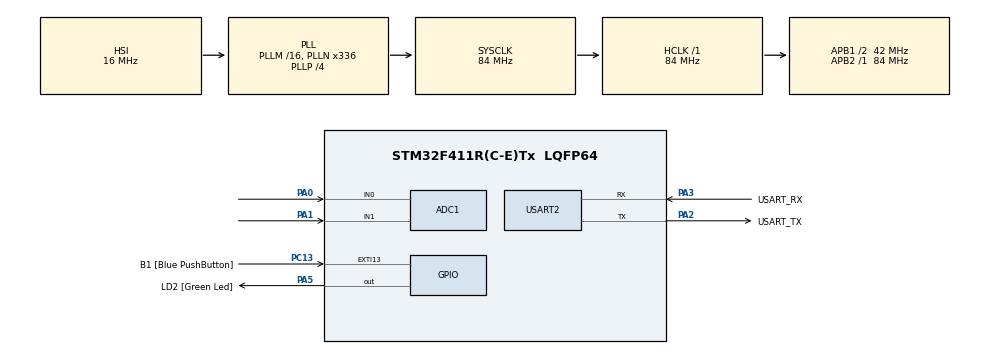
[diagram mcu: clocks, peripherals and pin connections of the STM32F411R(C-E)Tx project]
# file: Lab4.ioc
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ADC1.Channel-1\#ChannelRegularConversion=ADC_CHANNEL_0
ADC1.Channel-2\#ChannelRegularConversion=ADC_CHANNEL_0
ADC1.Channel-3\#ChannelRegularConversion=ADC_CHANNEL_0
ADC1.Channel-4\#ChannelRegularConversion=ADC_CHANNEL_0
ADC1.ContinuousConvMode=ENABLE
ADC1.DMAContinuousRequests=ENABLE
ADC1.NbrOfConversion=4
ADC1.NbrOfConversionFlag=1
ADC1.Rank-1\#ChannelRegularConversion=1
ADC1.Rank-2\#ChannelRegularConversion=2
ADC1.Rank-3\#ChannelRegularConversion=3
ADC1.Rank-4\#ChannelRegularConversion=4
ADC1.SamplingTime-1\#ChannelRegularConversion=ADC_SAMPLETIME_480CYCLES
ADC1.SamplingTime-2\#ChannelRegularConversion=ADC_SAMPLETIME_480CYCLES
ADC1.SamplingTime-3\#ChannelRegularConversion=ADC_SAMPLETIME_480CYCLES
ADC1.SamplingTime-4\#ChannelRegularConversion=ADC_SAMPLETIME_480CYCLES
ADC1.ScanConvMode=ENABLE
ADC1.master=1
Dma.ADC1.0.Direction=DMA_PERIPH_TO_MEMORY
Dma.ADC1.0.FIFOMode=DMA_FIFOMODE_DISABLE
Dma.ADC1.0.Instance=DMA2_Stream0
Dma.ADC1.0.MemDataAlignment=DMA_MDATAALIGN_WORD
Dma.ADC1.0.MemInc=DMA_MINC_ENABLE
Dma.ADC1.0.Mode=DMA_CIRCULAR
Dma.ADC1.0.PeriphDataAlignment=DMA_PDATAALIGN_WORD
Dma.ADC1.0.PeriphInc=DMA_PINC_DISABLE
Dma.ADC1.0.Priority=DMA_PRIORITY_LOW
Dma.Request0=ADC1
Mcu.Family=STM32F4
Mcu.Name=STM32F411R(C-E)Tx
Mcu.Package=LQFP64
NVIC.DMA2_Stream0_IRQn=true\:0\:0\:false\:false\:true\:false\:true
NVIC.EXTI15_10_IRQn=true\:0\:0\:false\:false\:true\:true\:true
NVIC.PriorityGroup=NVIC_PRIORITYGROUP_0
PA0-WKUP.Signal=ADCx_IN0
PA1.Signal=ADCx_IN1
PA13.GPIO_Label=TMS
PA13.Mode=Serial_Wire
PA13.Signal=SYS_JTMS-SWDIO
PA14.GPIO_Label=TCK
PA14.Mode=Serial_Wire
PA14.Signal=SYS_JTCK-SWCLK
PA2.GPIO_Label=USART_TX
PA2.Mode=Asynchronous
PA2.Signal=USART2_TX
PA3.GPIO_Label=USART_RX
PA3.Mode=Asynchronous
PA3.Signal=USART2_RX
PA5.GPIO_Label=LD2 [Green Led]
PA5.Signal=GPIO_Output
PB3.GPIO_Label=SWO
PB3.Signal=SYS_JTDO-SWO
PC13-ANTI_TAMP.GPIO_Label=B1 [Blue PushButton]
PC13-ANTI_TAMP.GPIO_ModeDefaultEXTI=GPIO_MODE_IT_RISING_FALLING
PC13-ANTI_TAMP.GPIO_PuPd=GPIO_PULLUP
PC13-ANTI_TAMP.Signal=GPXTI13
PC14-OSC32_IN.Mode=LSE-External-Oscillator
PC14-OSC32_IN.Signal=RCC_OSC32_IN
PC15-OSC32_OUT.Mode=LSE-External-Oscillator
PC15-OSC32_OUT.Signal=RCC_OSC32_OUT
PH0\ -\ OSC_IN.Mode=HSE-External-Clock-Source
PH0\ -\ OSC_IN.Signal=RCC_OSC_IN
PH1\ -\ OSC_OUT.Mode=HSE-External-Clock-Source
PH1\ -\ OSC_OUT.Signal=RCC_OSC_OUT
ProjectManager.HeapSize=0x200
ProjectManager.StackSize=0x400
ProjectManager.TargetToolchain=STM32CubeIDE
RCC.48MHZClocksFreq_Value=84000000
RCC.AHBFreq_Value=84000000
RCC.APB1CLKDivider=RCC_HCLK_DIV2
RCC.APB1Freq_Value=42000000
RCC.APB1TimFreq_Value=84000000
RCC.APB2Freq_Value=84000000
RCC.APB2TimFreq_Value=84000000
RCC.CortexFreq_Value=84000000
RCC.FLatency-AdvancedSettings=FLASH_LATENCY_2
RCC.HCLKFreq_Value=84000000
RCC.HSE_VALUE=8000000
RCC.HSI_VALUE=16000000
RCC.PLLN=336
RCC.PLLP=RCC_PLLP_DIV4
RCC.SYSCLKFreq_VALUE=84000000
RCC.SYSCLKSource=RCC_SYSCLKSOURCE_PLLCLK
RCC.VCOOutputFreq_Value=336000000
SH.ADCx_IN0.0=ADC1_IN0,IN0
SH.ADCx_IN1.0=ADC1_IN1,IN1
USART2.VirtualMode=VM_ASYNC
VP_ADC1_TempSens_Input.Mode=IN-TempSens
VP_ADC1_Vref_Input.Mode=IN-Vrefint
board=NUCLEO-F411RE

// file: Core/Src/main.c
/* USER CODE BEGIN Header */
/**
  ******************************************************************************
  * @file           : main.c
  * @brief          : Main program body
  ******************************************************************************
  * @attention
  *
  * <h2><center>&copy; Copyright (c) 2021 STMicroelectronics.
  * All rights reserved.</center></h2>
  *
  * This software component is licensed by ST under BSD 3-Clause license,
  * the "License"; You may not use this file except in compliance with the
  * License. You may obtain a copy of the License at:
  *                        opensource.org/licenses/BSD-3-Clause
  *
  ******************************************************************************
  */
/* USER CODE END Header */
#include "main.h"

ADC_HandleTypeDef hadc1;
DMA_HandleTypeDef hdma_adc1;

UART_HandleTypeDef huart2;

/* USER CODE BEGIN PV */
uint32_t ADCData[4]={0};
uint32_t timestamp1=0;
uint32_t timestamp2=0;
int timestamp3=0;
uint32_t timethai=0;
uint32_t Buttontimestamp=0;
int x=0;
int y=0;

GPIO_PinState switchstate[2]={GPIO_PIN_SET,GPIO_PIN_SET};
/* USER CODE END PV */

void SystemClock_Config(void);
static void MX_GPIO_Init(void);
static void MX_DMA_Init(void);
static void MX_USART2_UART_Init(void);
static void MX_ADC1_Init(void);

int main(void)
{

  /* MCU Configuration--------------------------------------------------------*/

  /* Reset of all peripherals, Initializes the Flash interface and the Systick. */
  HAL_Init();

  /* Configure the system clock */
  SystemClock_Config();

  /* Initialize all configured peripherals */
  MX_GPIO_Init();
  MX_DMA_Init();
  MX_USART2_UART_Init();
  MX_ADC1_Init();
  /* USER CODE BEGIN 2 */
  HAL_ADC_Start_DMA(&hadc1, ADCData, 4);
  HAL_GPIO_WritePin(GPIOA, GPIO_PIN_5, 1);

  /* USER CODE END 2 */

  /* Infinite loop */
  while (1)
  {

    /* USER CODE BEGIN 3 */
	  if(x==1){
		 y= 1000 +((22695477* ADCData[0]) +ADCData[1])% 10000;
		 if(HAL_GetTick()-timestamp2>=y){
			 Buttontimestamp=HAL_GetTick();
			 HAL_GPIO_WritePin(GPIOA, GPIO_PIN_5, 1);
			 x=0;
		 }
	  }
  }
  /* USER CODE END 3 */
}

void SystemClock_Config(void)
{
  RCC_OscInitTypeDef RCC_OscInitStruct = {0};
  RCC_ClkInitTypeDef RCC_ClkInitStruct = {0};

  /** Configure the main internal regulator output voltage
  */
  __HAL_RCC_PWR_CLK_ENABLE();
  __HAL_PWR_VOLTAGESCALING_CONFIG(PWR_REGULATOR_VOLTAGE_SCALE1);
  /** Initializes the RCC Oscillators according to the specified parameters
  * in the RCC_OscInitTypeDef structure.
  */
  RCC_OscInitStruct.OscillatorType = RCC_OSCILLATORTYPE_HSI;
  RCC_OscInitStruct.HSIState = RCC_HSI_ON;
  RCC_OscInitStruct.HSICalibrationValue = RCC_HSICALIBRATION_DEFAULT;
  RCC_OscInitStruct.PLL.PLLState = RCC_PLL_ON;
  RCC_OscInitStruct.PLL.PLLSource = RCC_PLLSOURCE_HSI;
  RCC_OscInitStruct.PLL.PLLM = 16;
  RCC_OscInitStruct.PLL.PLLN = 336;
  RCC_OscInitStruct.PLL.PLLP = RCC_PLLP_DIV4;
  RCC_OscInitStruct.PLL.PLLQ = 4;
  if (HAL_RCC_OscConfig(&RCC_OscInitStruct) != HAL_OK)
  {
    Error_Handler();
  }
  /** Initializes the CPU, AHB and APB buses clocks
  */
  RCC_ClkInitStruct.ClockType = RCC_CLOCKTYPE_HCLK|RCC_CLOCKTYPE_SYSCLK
                              |RCC_CLOCKTYPE_PCLK1|RCC_CLOCKTYPE_PCLK2;
  RCC_ClkInitStruct.SYSCLKSource = RCC_SYSCLKSOURCE_PLLCLK;
  RCC_ClkInitStruct.AHBCLKDivider = RCC_SYSCLK_DIV1;
  RCC_ClkInitStruct.APB1CLKDivider = RCC_HCLK_DIV2;
  RCC_ClkInitStruct.APB2CLKDivider = RCC_HCLK_DIV1;

  if (HAL_RCC_ClockConfig(&RCC_ClkInitStruct, FLASH_LATENCY_2) != HAL_OK)
  {
    Error_Handler();
  }
}

static void MX_ADC1_Init(void)
{

  ADC_ChannelConfTypeDef sConfig = {0};

  /** Configure the global features of the ADC (Clock, Resolution, Data Alignment and number of conversion)
  */
  hadc1.Instance = ADC1;
  hadc1.Init.ClockPrescaler = ADC_CLOCK_SYNC_PCLK_DIV4;
  hadc1.Init.Resolution = ADC_RESOLUTION_12B;
  hadc1.Init.ScanConvMode = ENABLE;
  hadc1.Init.ContinuousConvMode = ENABLE;
  hadc1.Init.DiscontinuousConvMode = DISABLE;
  hadc1.Init.ExternalTrigConvEdge = ADC_EXTERNALTRIGCONVEDGE_NONE;
  hadc1.Init.ExternalTrigConv = ADC_SOFTWARE_START;
  hadc1.Init.DataAlign = ADC_DATAALIGN_RIGHT;
  hadc1.Init.NbrOfConversion = 4;
  hadc1.Init.DMAContinuousRequests = ENABLE;
  hadc1.Init.EOCSelection = ADC_EOC_SINGLE_CONV;
  if (HAL_ADC_Init(&hadc1) != HAL_OK)
  {
    Error_Handler();
  }
  /** Configure for the selected ADC regular channel its corresponding rank in the sequencer and its sample time.
  */
  sConfig.Channel = ADC_CHANNEL_0;
  sConfig.Rank = 1;
  sConfig.SamplingTime = ADC_SAMPLETIME_480CYCLES;
  if (HAL_ADC_ConfigChannel(&hadc1, &sConfig) != HAL_OK)
  {
    Error_Handler();
  }
  /** Configure for the selected ADC regular channel its corresponding rank in the sequencer and its sample time.
  */
  sConfig.Rank = 2;
  if (HAL_ADC_ConfigChannel(&hadc1, &sConfig) != HAL_OK)
  {
    Error_Handler();
  }
  /** Configure for the selected ADC regular channel its corresponding rank in the sequencer and its sample time.
  */
  sConfig.Rank = 3;
  if (HAL_ADC_ConfigChannel(&hadc1, &sConfig) != HAL_OK)
  {
    Error_Handler();
  }
  /** Configure for the selected ADC regular channel its corresponding rank in the sequencer and its sample time.
  */
  sConfig.Rank = 4;
  if (HAL_ADC_ConfigChannel(&hadc1, &sConfig) != HAL_OK)
  {
    Error_Handler();
  }

}

static void MX_USART2_UART_Init(void)
{

  huart2.Instance = USART2;
  huart2.Init.BaudRate = 115200;
  huart2.Init.WordLength = UART_WORDLENGTH_8B;
  huart2.Init.StopBits = UART_STOPBITS_1;
  huart2.Init.Parity = UART_PARITY_NONE;
  huart2.Init.Mode = UART_MODE_TX_RX;
  huart2.Init.HwFlowCtl = UART_HWCONTROL_NONE;
  huart2.Init.OverSampling = UART_OVERSAMPLING_16;
  if (HAL_UART_Init(&huart2) != HAL_OK)
  {
    Error_Handler();
  }

}

static void MX_DMA_Init(void)
{

  /* DMA controller clock enable */
  __HAL_RCC_DMA2_CLK_ENABLE();

  /* DMA interrupt init */
  /* DMA2_Stream0_IRQn interrupt configuration */
  HAL_NVIC_SetPriority(DMA2_Stream0_IRQn, 0, 0);
  HAL_NVIC_EnableIRQ(DMA2_Stream0_IRQn);

}

static void MX_GPIO_Init(void)
{
  GPIO_InitTypeDef GPIO_InitStruct = {0};

  /* GPIO Ports Clock Enable */
  __HAL_RCC_GPIOC_CLK_ENABLE();
  __HAL_RCC_GPIOH_CLK_ENABLE();
  __HAL_RCC_GPIOA_CLK_ENABLE();
  __HAL_RCC_GPIOB_CLK_ENABLE();

  /*Configure GPIO pin Output Level */
  HAL_GPIO_WritePin(LD2_GPIO_Port, LD2_Pin, GPIO_PIN_RESET);

  /*Configure GPIO pin : B1_Pin */
  GPIO_InitStruct.Pin = B1_Pin;
  GPIO_InitStruct.Mode = GPIO_MODE_IT_RISING_FALLING;
  GPIO_InitStruct.Pull = GPIO_PULLUP;
  HAL_GPIO_Init(B1_GPIO_Port, &GPIO_InitStruct);

  /*Configure GPIO pin : LD2_Pin */
  GPIO_InitStruct.Pin = LD2_Pin;
  GPIO_InitStruct.Mode = GPIO_MODE_OUTPUT_PP;
  GPIO_InitStruct.Pull = GPIO_NOPULL;
  GPIO_InitStruct.Speed = GPIO_SPEED_FREQ_LOW;
  HAL_GPIO_Init(LD2_GPIO_Port, &GPIO_InitStruct);

  /* EXTI interrupt init*/
  HAL_NVIC_SetPriority(EXTI15_10_IRQn, 0, 0);
  HAL_NVIC_EnableIRQ(EXTI15_10_IRQn);

}

/* USER CODE BEGIN 4 */
void HAL_GPIO_EXTI_Callback(uint16_t GPIO_Pin)

{

	if(GPIO_Pin == GPIO_PIN_13)
	{
	switchstate[0]= HAL_GPIO_ReadPin(GPIOC, GPIO_PIN_13);
	if(switchstate[1] == GPIO_PIN_SET
			  		  			&& switchstate[0] ==GPIO_PIN_RESET)
	{
	timestamp2=HAL_GetTick();
    HAL_GPIO_WritePin(GPIOA, GPIO_PIN_5, 0);
    x=1;
	}
	else if(switchstate[1] == GPIO_PIN_RESET
			  		  			&& switchstate[0] ==GPIO_PIN_SET){
    timestamp1=HAL_GetTick();
    x=2;
    timestamp3=timestamp1-Buttontimestamp;
	}

	switchstate[1]=switchstate[0];
	}

}
/* USER CODE END 4 */

void Error_Handler(void)
{
  __disable_irq();
  while (1)
  {
  }
}

/************************ (C) COPYRIGHT STMicroelectronics *****END OF FILE****/
